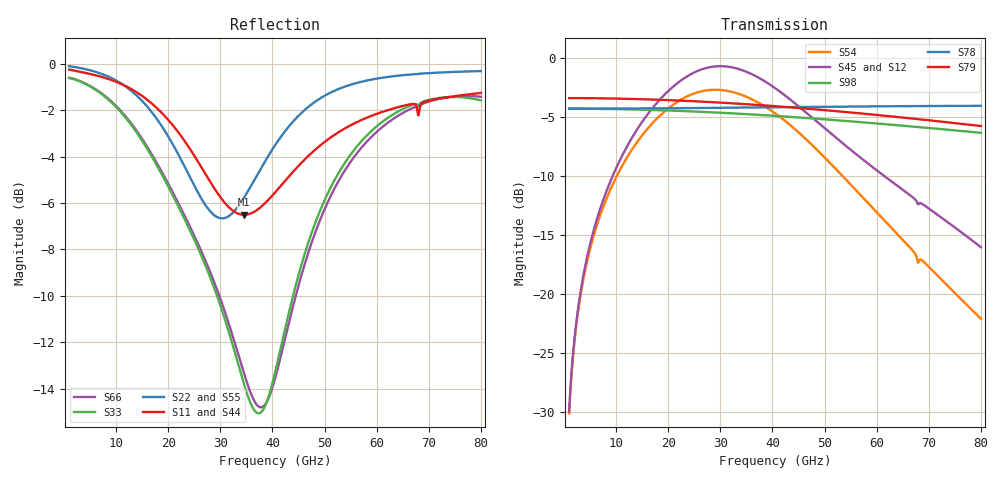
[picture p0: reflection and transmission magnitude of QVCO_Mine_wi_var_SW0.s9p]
! Touchstone Ver. 1.0
! Number of ports is 9
# Hz	S	RI	R	50.000000
! SCATTERING PARAMETERS  :
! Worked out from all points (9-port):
!   1001 points, 1 GHz to 80 GHz, reference 50 ohm
!   strongest paths, dB at 1 GHz, 20.75 GHz, 40.5 GHz, 60.25 GHz, 80 GHz:
!     S79: -3.4, -3.6, -4.1, -4.8, -5.8
!     S78: -4.3, -4.2, -4.2, -4.1, -4.0
!     S98: -4.3, -4.4, -4.9, -5.5, -6.3
!     S45: -29.9, -2.5, -2.5, -9.6, -16.0
!     S12: -29.9, -2.5, -2.6, -9.7, -16.0
!     S54: -30.1, -4.0, -4.7, -13.2, -22.1
!   lowest |S11| = -6.5 dB at 34.58 GHz (marker M1), VSWR 2.79, Z = 110 + j52.2 ohm
!   |S11| at or under -10 dB: nowhere
